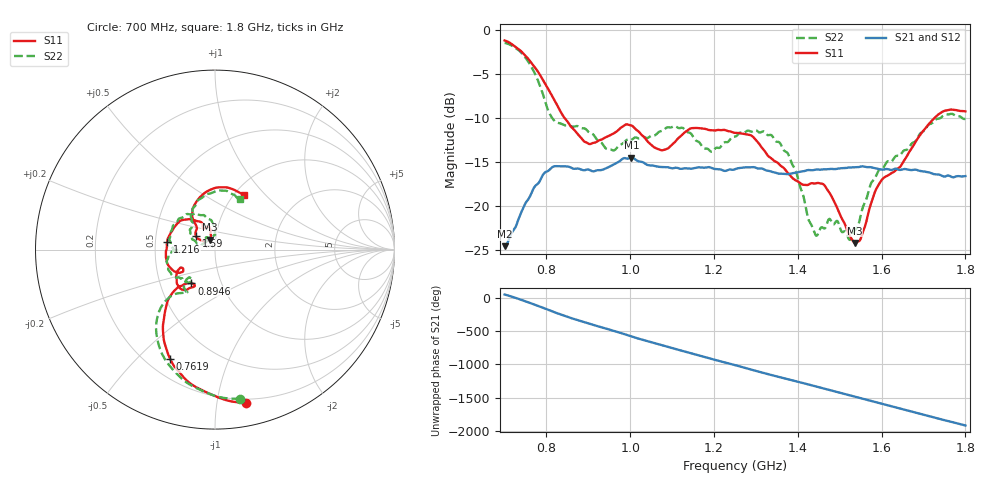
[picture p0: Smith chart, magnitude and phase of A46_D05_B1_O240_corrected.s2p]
! Created with skrf 1.9.0 (http://scikit-rf.org).
# Hz S RI R 50.0
!freq ReS11 ImS11 ReS21 ImS21 ReS12 ImS12 ReS22 ImS22
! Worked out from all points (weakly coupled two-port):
!   1601 points, 700 MHz to 1.8 GHz, reference 50 ohm
!   highest |S21| = -14.52 dB at 1.002 GHz (marker M1); lowest = -24.6 dB at 700 MHz (marker M2)
!   lowest |S11| = -24.2 dB at 1.536 GHz (marker M3), VSWR 1.13, Z = 46.9 + j5.15 ohm
!   |S11| at or under -10 dB: 842.9 MHz to 1.726 GHz (883.5 MHz wide, 68.8 % of centre)
!   |S22| runs from -23.9 to -1.5 dB; largest |S21 - S12| = 0.0035
!   S11 on the Smith chart (normalised r, x): 700 MHz: 0.17, -1.21; 761.9 MHz: 0.29, -0.63; 894.6 MHz: 0.72, -0.29; 1.216 GHz: 0.58, +0.05; 1.59 GHz: 0.80, +0.12; 1.8 GHz: 1.11, +0.77
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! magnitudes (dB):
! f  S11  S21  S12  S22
! 700 MHz  -1.2  -24.6  -24.3  -1.5
! 761.9 MHz  -3.6  -18.8  -18.7  -4.0
! 816.9 MHz  -7.8  -15.5  -15.6  -10.2
! 883.6 MHz  -12.3  -15.9  -15.8  -11.2
! 894.6 MHz  -12.8  -15.9  -16.0  -11.3
! 947.5 MHz  -12.1  -15.6  -15.6  -13.6
! 1.002 GHz  -10.9  -14.5  -14.6  -12.5
! 1.067 GHz  -13.6  -15.5  -15.5  -11.6
! 1.145 GHz  -11.2  -15.8  -15.8  -11.8
! 1.216 GHz  -11.4  -15.9  -15.9  -13.3
! 1.25 GHz  -11.7  -15.8  -15.8  -12.1
! 1.3 GHz  -12.5  -15.7  -15.7  -11.4
! 1.357 GHz  -15.4  -16.4  -16.3  -12.9
! 1.394 GHz  -17.1  -16.2  -16.2  -15.9
! 1.434 GHz  -17.4  -15.9  -15.9  -22.3
! 1.467 GHz  -17.9  -15.8  -15.8  -22.4
! 1.536 GHz  -24.2  -15.6  -15.6  -22.8
! 1.552 GHz  -23.5  -15.5  -15.5  -20.7
! 1.59 GHz  -17.8  -15.8  -15.8  -16.2
! 1.617 GHz  -16.5  -15.9  -15.8  -14.9
! 1.733 GHz  -9.7  -16.4  -16.4  -10.1
! 1.8 GHz  -9.3  -16.6  -16.6  -10.1
